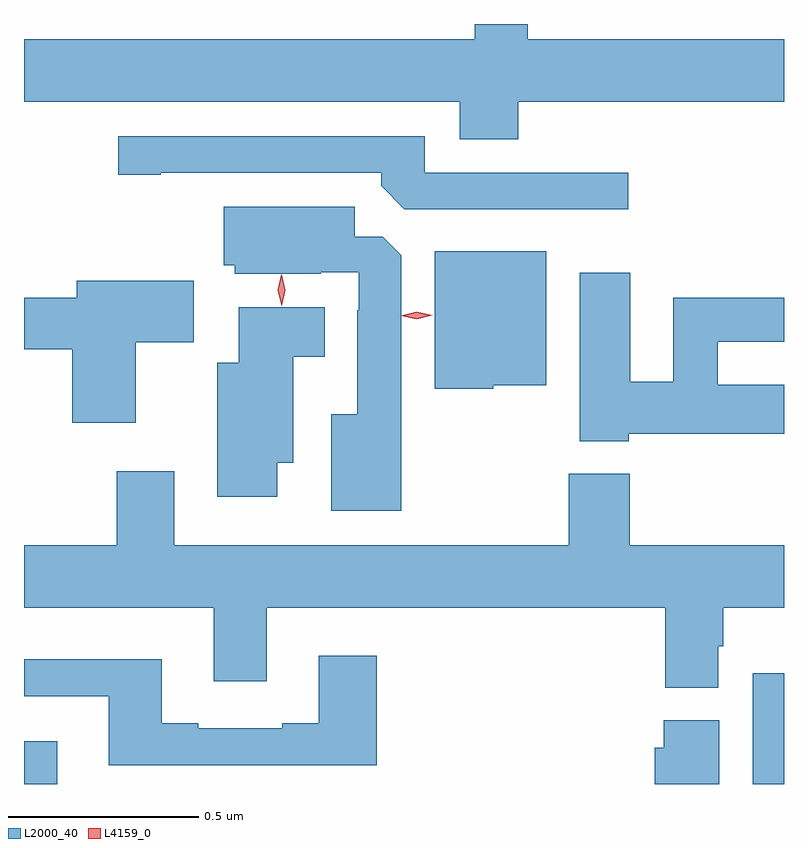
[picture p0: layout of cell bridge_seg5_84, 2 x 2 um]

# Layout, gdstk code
import gdstk
lib = gdstk.Library(unit=1e-6, precision=1e-09)
def R(c, l, rs):  # rectangles x0, y0, x1, y1
    for r in rs: c.add(gdstk.rectangle(r[:2], r[2:], *l))
def P(c, l, *ps):  # polygons
    for p in ps: c.add(gdstk.Polygon(p, *l))
L2000_40 = (2000, 40)
L4159_0 = (4159, 0)

bridge_seg5_84 = lib.new_cell('bridge_seg5_84')
R(bridge_seg5_84, L2000_40, [(124.372,910.908,124.459,911.02), (126.29,910.908,126.372,911.2)])
P(bridge_seg5_84, L2000_40, [(125.672,912.704),(126.372,912.704),(126.372,912.868),(125.697,912.868),(125.697,912.908),(125.558,912.908),(125.558,912.868),(124.372,912.868),(124.372,912.704),(125.519,912.704),(125.519,912.605),(125.672,912.605)],
  [(125.962,912.516),(125.427,912.516),(125.427,912.612),(124.62,912.612),(124.62,912.511),(124.732,912.511),(124.732,912.516),(125.312,912.516),(125.312,912.482),(125.373,912.42),(125.962,912.42)],
  [(125.365,912.299),(125.316,912.348),(125.242,912.348),(125.242,912.427),(124.898,912.427),(124.898,912.273),(124.926,912.273),(124.926,912.251),(125.153,912.251),(125.153,912.255),(125.253,912.255),(125.253,912.155),(125.249,912.155),(125.249,911.881),(125.18,911.881),(125.18,911.627),(125.365,911.627)],
  [(125.607,911.957),(125.746,911.957),(125.746,912.31),(125.453,912.31),(125.453,911.948),(125.607,911.948)],
  [(125.964,911.83),(126.372,911.83),(126.372,911.959),(126.197,911.959),(126.197,912.072),(126.372,912.072),(126.372,912.188),(126.081,912.188),(126.081,911.967),(125.968,911.967),(125.968,912.253),(125.834,912.253),(125.834,911.81),(125.964,911.81)],
  [(124.666,912.07),(124.819,912.07),(124.819,912.232),(124.511,912.232),(124.511,912.188),(124.372,912.188),(124.372,912.052),(124.499,912.052),(124.499,911.859),(124.666,911.859)],
  [(125.038,911.753),(125.08,911.753),(125.08,912.032),(125.164,912.032),(125.164,912.163),(124.937,912.163),(124.937,912.016),(124.88,912.016),(124.88,911.664),(125.038,911.664)],
  [(125.966,911.725),(125.806,911.725),(125.806,911.536),(124.768,911.536),(124.768,911.731),(124.616,911.731),(124.616,911.536),(124.372,911.536),(124.372,911.372),(124.871,911.372),(124.871,911.178),(125.011,911.178),(125.011,911.372),(126.059,911.372),(126.059,911.161),(126.199,911.161),(126.199,911.271),(126.212,911.271),(126.212,911.372),(126.372,911.372),(126.372,911.536),(125.966,911.536)],
  [(125.3,911.245),(125.147,911.245),(125.147,911.068),(125.051,911.068),(125.051,911.055),(124.831,911.055),(124.831,911.068),(124.735,911.068),(124.735,911.236),(124.372,911.236),(124.372,911.139),(124.595,911.139),(124.595,910.958),(125.3,910.958)],
  [(126.202,911.076),(126.056,911.076),(126.056,911.004),(126.032,911.004),(126.032,910.908),(126.202,910.908)])
P(bridge_seg5_84, L4159_0, [(125.405,912.131),(125.364,912.14),(125.364,912.14),(125.364,912.14),(125.405,912.151),(125.446,912.142),(125.446,912.141),(125.446,912.141)],
  [(125.05,912.166),(125.05,912.166),(125.04,912.207),(125.049,912.248),(125.049,912.248),(125.05,912.248),(125.059,912.207),(125.05,912.166)])

lib.write_gds('bridge_seg5_84.gds')
